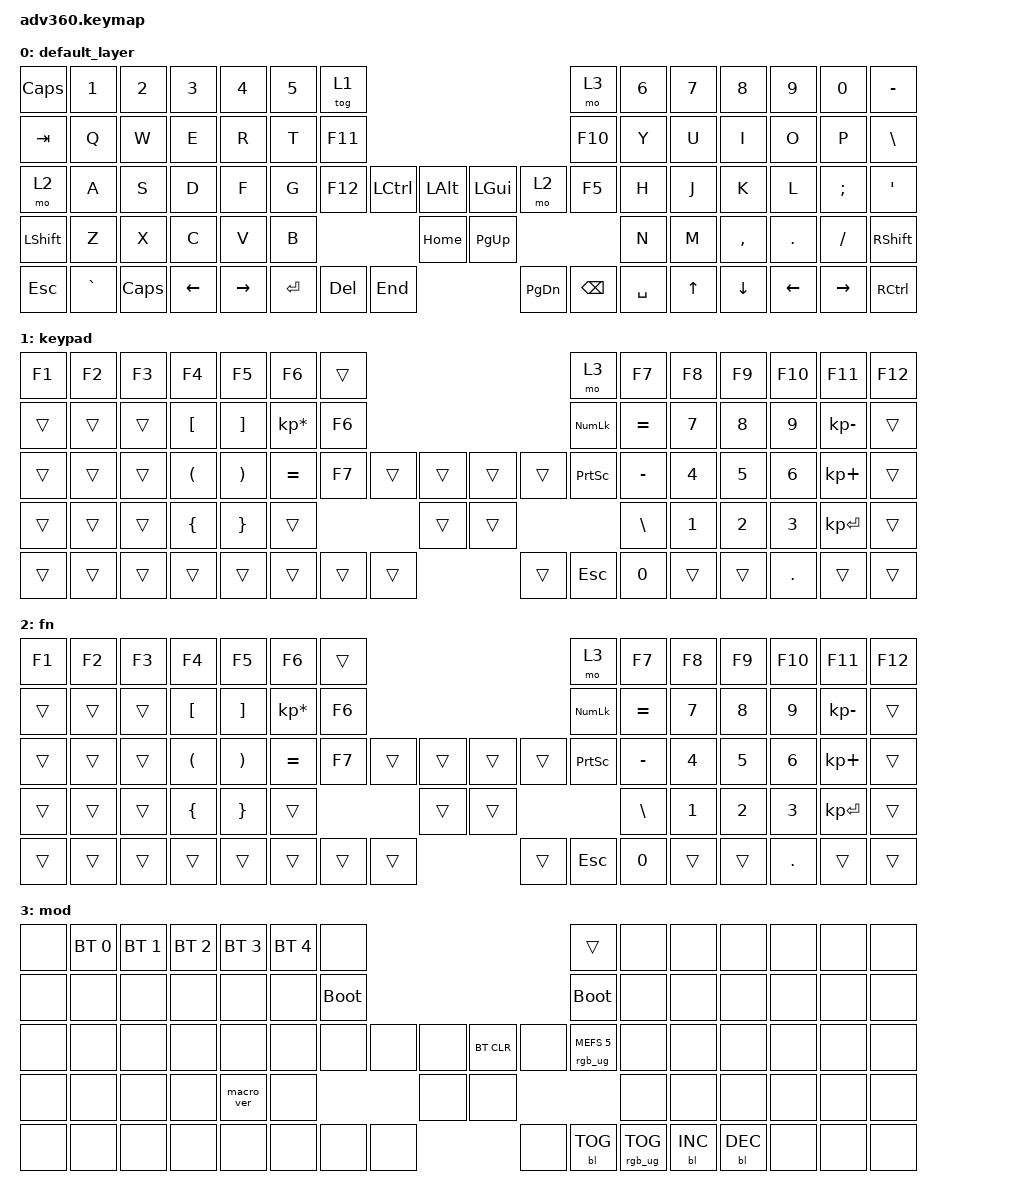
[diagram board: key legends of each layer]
#include <behaviors.dtsi>
#include <dt-bindings/zmk/keys.h>
#include <dt-bindings/zmk/bt.h>
#include <dt-bindings/zmk/rgb.h>
#include <dt-bindings/zmk/backlight.h>

#define KEYS_LEFT  0  1  2  3  4  5  6 \
                  14 15 16 17 18 19 20 \
                  28 29 30 31 32 33 34 \
                  46 47 48 49 50 51 \
                  60 61 62 63 64

#define KEYS_RIGHT  7  8  9 10 11 12 13 \
                   21 22 23 24 25 26 27 \
                   39 40 41 42 43 44 45 \
                      54 55 56 57 58 59 \
                         71 72 73 74 75

#define THUMBS_LEFT 35 36 52 65 66 67

#define THUMBS_RIGHT 37 38 53 68 69 70

/ {
    combos {
        compatible = "zmk,combos";
        combo_rctl_enter {
            timeout-ms = <50>;
            key-positions = <65>;
            layers = <1 2>;
            bindings = <&kp RC(ENTER)>;
        };
    };

    behaviors {
      #include "macros.dtsi"
      #include "version.dtsi"
      #ifndef VERSION_MACRO
      macro_ver: macro_ver {
        compatible = "zmk,behavior-macro";
        label = "macro_version";
        #binding-cells = <0>;
        bindings = <&kp RET>;
      };
      #endif

      hm: homerow_mods {
          compatible = "zmk,behavior-hold-tap";
          label = "HOMEROW_MODS";
          #binding-cells = <2>;
          tapping-term-ms = <200>;
          quick_tap_ms = <175>;
          flavor = "tap-preferred";
          bindings = <&kp>, <&kp>;
      };
    };

  keymap {
    compatible = "zmk,keymap";

    default_layer {
      bindings = <
        &kp CAPS  &kp N1    &kp N2   &kp N3   &kp N4     &kp N5 &tog 1                                                             &mo 3   &kp N6 &kp N7 &kp N8    &kp N9   &kp N0    &kp MINUS
        &kp TAB   &kp Q     &kp W    &kp E    &kp R      &kp T  &kp F11                                                            &kp F10 &kp Y  &kp U  &kp I     &kp O    &kp P     &kp BSLH
        &mo 2     &kp A     &kp S    &kp D    &kp F      &kp G  &kp F12           &kp LCTRL &kp LALT &kp LGUI  &mo 2               &kp F5  &kp H  &kp J  &kp K     &kp L    &kp SEMI  &kp SQT
        &kp LSHFT &kp Z     &kp X    &kp C    &kp V      &kp B                              &kp HOME &kp PG_UP                             &kp N  &kp M  &kp COMMA &kp DOT  &kp FSLH  &kp RSHFT
        &kp ESC   &kp GRAVE &kp CAPS &kp LEFT &kp RIGHT                 &kp ENTER &kp DEL   &kp END  &kp PG_DN &kp BSPC  &kp SPACE                &kp UP &kp DOWN  &kp LEFT &kp RIGHT &kp RCTRL
      >;
    };
    keypad {
      bindings = <
        &kp F1 &kp F2 &kp F3 &kp F4   &kp F5   &kp F6          &trans                                            &mo 3      &kp F7    &kp F8 &kp F9 &kp F10 &kp F11      &kp F12
        &trans &trans &trans &kp LBKT &kp RBKT &kp KP_MULTIPLY &kp F6                                            &kp KP_NUM &kp EQUAL &kp N7 &kp N8 &kp N9  &kp KP_MINUS &trans
        &trans &trans &trans &kp LPAR &kp RPAR &kp EQUAL       &kp F7        &trans &trans &trans &trans         &kp PSCRN  &kp MINUS &kp N4 &kp N5 &kp N6  &kp KP_PLUS  &trans
        &trans &trans &trans &kp LBRC &kp RBRC &trans                               &trans &trans                           &kp BSLH  &kp N1 &kp N2 &kp N3  &kp KP_ENTER &trans
        &trans &trans &trans &trans   &trans                          &trans &trans &trans &trans &kp ESC &kp N0                   &trans    &trans &kp DOT &trans       &trans
      >;
    };
    fn {
      bindings = <
        &kp F1 &kp F2 &kp F3 &kp F4   &kp F5   &kp F6          &trans                                            &mo 3      &kp F7    &kp F8 &kp F9 &kp F10 &kp F11      &kp F12
        &trans &trans &trans &kp LBKT &kp RBKT &kp KP_MULTIPLY &kp F6                                            &kp KP_NUM &kp EQUAL &kp N7 &kp N8 &kp N9  &kp KP_MINUS &trans
        &trans &trans &trans &kp LPAR &kp RPAR &kp EQUAL       &kp F7        &trans &trans &trans &trans         &kp PSCRN  &kp MINUS &kp N4 &kp N5 &kp N6  &kp KP_PLUS  &trans
        &trans &trans &trans &kp LBRC &kp RBRC &trans                               &trans &trans                           &kp BSLH  &kp N1 &kp N2 &kp N3  &kp KP_ENTER &trans
        &trans &trans &trans &trans   &trans                          &trans &trans &trans &trans &kp ESC &kp N0                   &trans    &trans &kp DOT &trans       &trans
      >;
    };
    mod {
      bindings = <
        &none &bt BT_SEL 0 &bt BT_SEL 1 &bt BT_SEL 2 &bt BT_SEL 3 &bt BT_SEL 4 &none                                                                     &trans                 &none        &none        &none        &none &none &none
        &none &none        &none        &none        &none        &none        &bootloader                                                               &bootloader            &none        &none        &none        &none &none &none
        &none &none        &none        &none        &none        &none        &none                   &none &none &bt BT_CLR &none                      &rgb_ug RGB_MEFS_CMD 5 &none        &none        &none        &none &none &none
        &none &none        &none        &none        &macro_ver   &none                                      &none &none                                                        &none        &none        &none        &none &none &none
        &none &none        &none        &none        &none                                       &none &none &none &none      &bl BL_TOG &rgb_ug RGB_TOG                                     &bl BL_INC   &bl BL_DEC   &none &none &none
      >;
    };
  };
};
